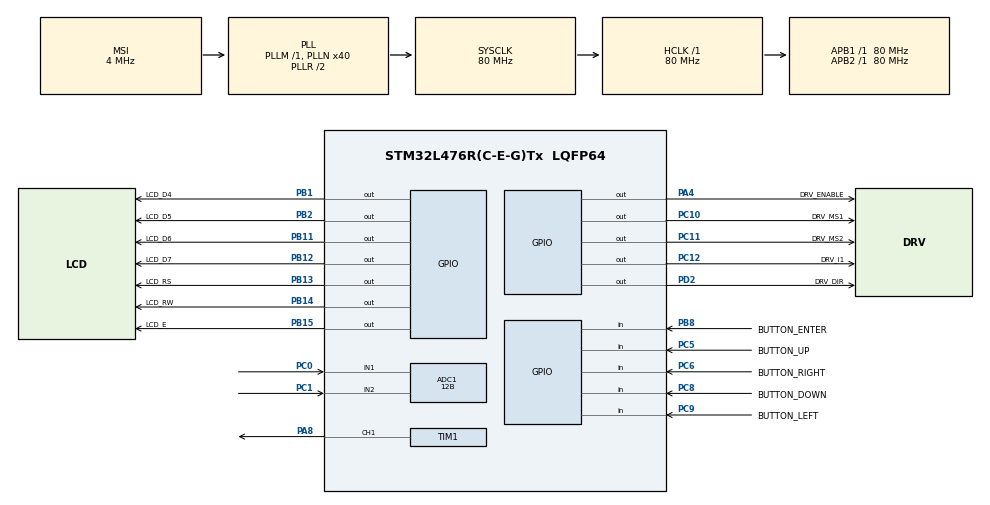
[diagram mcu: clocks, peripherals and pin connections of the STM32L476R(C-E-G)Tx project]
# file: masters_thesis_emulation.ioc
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ADC1.Channel-0\#ChannelRegularConversion=ADC_CHANNEL_1
ADC1.Channel-1\#ChannelRegularConversion=ADC_CHANNEL_2
ADC1.ContinuousConvMode=ENABLE
ADC1.DMAContinuousRequests=ENABLE
ADC1.Mode=ADC_MODE_INDEPENDENT
ADC1.NbrOfConversion=2
ADC1.NbrOfConversionFlag=1
ADC1.OffsetNumber-0\#ChannelRegularConversion=ADC_OFFSET_NONE
ADC1.OffsetNumber-1\#ChannelRegularConversion=ADC_OFFSET_NONE
ADC1.Overrun=ADC_OVR_DATA_OVERWRITTEN
ADC1.Rank-0\#ChannelRegularConversion=1
ADC1.Rank-1\#ChannelRegularConversion=2
ADC1.Resolution=ADC_RESOLUTION_12B
ADC1.SamplingTime-0\#ChannelRegularConversion=ADC_SAMPLETIME_247CYCLES_5
ADC1.SamplingTime-1\#ChannelRegularConversion=ADC_SAMPLETIME_247CYCLES_5
ADC1.master=1
Dma.ADC1.0.Direction=DMA_PERIPH_TO_MEMORY
Dma.ADC1.0.Instance=DMA1_Channel1
Dma.ADC1.0.MemDataAlignment=DMA_MDATAALIGN_HALFWORD
Dma.ADC1.0.MemInc=DMA_MINC_ENABLE
Dma.ADC1.0.Mode=DMA_CIRCULAR
Dma.ADC1.0.PeriphDataAlignment=DMA_PDATAALIGN_HALFWORD
Dma.ADC1.0.PeriphInc=DMA_PINC_DISABLE
Dma.ADC1.0.Priority=DMA_PRIORITY_LOW
Dma.Request0=ADC1
Mcu.Family=STM32L4
Mcu.Name=STM32L476R(C-E-G)Tx
Mcu.Package=LQFP64
NVIC.DMA1_Channel1_IRQn=true\:2\:0\:true\:false\:true\:false\:true\:true
NVIC.PriorityGroup=NVIC_PRIORITYGROUP_4
PA13\ (JTMS-SWDIO).Mode=Serial_Wire
PA13\ (JTMS-SWDIO).Signal=SYS_JTMS-SWDIO
PA14\ (JTCK-SWCLK).Mode=Serial_Wire
PA14\ (JTCK-SWCLK).Signal=SYS_JTCK-SWCLK
PA4.GPIO_Label=DRV_ENABLE
PA4.Signal=GPIO_Output
PA8.Signal=S_TIM1_CH1
PB1.GPIO_Label=LCD_D4
PB1.Signal=GPIO_Output
PB11.GPIO_Label=LCD_D6
PB11.Signal=GPIO_Output
PB12.GPIO_Label=LCD_D7
PB12.Signal=GPIO_Output
PB13.GPIO_Label=LCD_RS
PB13.Signal=GPIO_Output
PB14.GPIO_Label=LCD_RW
PB14.Signal=GPIO_Output
PB15.GPIO_Label=LCD_E
PB15.Signal=GPIO_Output
PB2.GPIO_Label=LCD_D5
PB2.Signal=GPIO_Output
PB8.GPIO_Label=BUTTON_ENTER
PB8.GPIO_PuPd=GPIO_PULLDOWN
PB8.Signal=GPIO_Input
PC0.Signal=ADCx_IN1
PC1.Signal=ADCx_IN2
PC10.GPIO_Label=DRV_MS1
PC10.PinState=GPIO_PIN_SET
PC10.Signal=GPIO_Output
PC11.GPIO_Label=DRV_MS2
PC11.PinState=GPIO_PIN_SET
PC11.Signal=GPIO_Output
PC12.GPIO_Label=DRV_I1
PC12.GPIO_PuPd=GPIO_PULLDOWN
PC12.PinState=GPIO_PIN_RESET
PC12.Signal=GPIO_Output
PC5.GPIO_Label=BUTTON_UP
PC5.GPIO_PuPd=GPIO_PULLDOWN
PC5.Signal=GPIO_Input
PC6.GPIO_Label=BUTTON_RIGHT
PC6.GPIO_PuPd=GPIO_PULLDOWN
PC6.Signal=GPIO_Input
PC8.GPIO_Label=BUTTON_DOWN
PC8.GPIO_PuPd=GPIO_PULLDOWN
PC8.Signal=GPIO_Input
PC9.GPIO_Label=BUTTON_LEFT
PC9.GPIO_PuPd=GPIO_PULLDOWN
PC9.Signal=GPIO_Input
PD2.GPIO_Label=DRV_DIR
PD2.GPIO_PuPd=GPIO_NOPULL
PD2.Signal=GPIO_Output
ProjectManager.HeapSize=0x200
ProjectManager.StackSize=0x400
ProjectManager.TargetToolchain=STM32CubeIDE
RCC.ADCFreq_Value=80000000
RCC.AHBFreq_Value=80000000
RCC.APB1Freq_Value=80000000
RCC.APB1TimFreq_Value=80000000
RCC.APB2Freq_Value=80000000
RCC.APB2TimFreq_Value=80000000
RCC.CortexFreq_Value=80000000
RCC.HCLKFreq_Value=80000000
RCC.HSE_VALUE=8000000
RCC.HSI_VALUE=16000000
RCC.LSE_VALUE=32768
RCC.MSI_VALUE=4000000
RCC.PLLN=40
RCC.PLLSAI1N=40
RCC.SYSCLKFreq_VALUE=80000000
RCC.SYSCLKSource=RCC_SYSCLKSOURCE_PLLCLK
RCC.USBFreq_Value=80000000
RCC.VCOOutputFreq_Value=160000000
SH.ADCx_IN1.0=ADC1_IN1,IN1-Single-Ended
SH.ADCx_IN2.0=ADC1_IN2,IN2-Single-Ended
SH.S_TIM1_CH1.0=TIM1_CH1,PWM Generation1 CH1
TIM1.Channel-PWM\ Generation1\ CH1=TIM_CHANNEL_1
TIM2.Prescaler=79
VP_TIM1_VS_ClockSourceINT.Mode=Internal
VP_TIM1_VS_OPM.Mode=OPM_bit
VP_TIM2_VS_ClockSourceINT.Mode=Internal
board=custom

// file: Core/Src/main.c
/* USER CODE BEGIN Header */
/**
  ******************************************************************************
  * @file           : main.c
  * @brief          : Main program body
  ******************************************************************************
  * @attention
  *
  * Copyright (c) 2024 STMicroelectronics.
  * All rights reserved.
  *
  * This software is licensed under terms that can be found in the LICENSE file
  * in the root directory of this software component.
  * If no LICENSE file comes with this software, it is provided AS-IS.
  *
  ******************************************************************************
  */
/* USER CODE END Header */
#include "main.h"
#include "adc.h"
#include "dma.h"
#include "tim.h"
#include "gpio.h"

/* USER CODE BEGIN Includes */
#include "lcd.h"
#include <stdbool.h>
/* USER CODE END Includes */

/* USER CODE BEGIN PTD */
#define button_portType GPIO_TypeDef*
#define button_pinType uint16_t
typedef struct {
	button_portType button_port;
	button_pinType button_pin;
} button_HandleTypeDef;
/* USER CODE END PTD */

/* USER CODE BEGIN PM */
#define BLINK_TIME 125
#define CLICK_TIME 10
#define MASS_MAX 1000 //max. mass value is 10 kg
#define MASS_MIN 10   //min. mass value is 0.1 kg
#define BEAM_OFF 80
#define ADC_TO_VOLTS 0.00080566406
#define DX_MAX 0.0075 //[m]
#define DX_MIN 0.000153075 //[m]
#define X_FACTOR 6532.74538625f // X_FACTOR = 1/DX_MIN [mm] (how many single steps is needed to reach calc. displacement)
/* USER CODE END PM */

void SystemClock_Config(void);
/* USER CODE BEGIN PFP */

/* Function used for interfacing mass definition and beams voltage regulation */
void displayf(int* p_m, int menu, Lcd_HandleTypeDef lcd, uint16_t adc[2]);
/* Function used for displaying countdown after pressing enter button.
 * Initial positions of cars have to be set during countdown. */
void countdownf(Lcd_HandleTypeDef lcd);
/* Function used along with RK4 method to calculate k1, k2, k3 and k4 values. */
void f(float Q1,float a, float dq[2]);
/* USER CODE END PFP */

int main(void)
{

  /* MCU Configuration--------------------------------------------------------*/

  /* Reset of all peripherals, Initializes the Flash interface and the Systick. */
  HAL_Init();

  /* Configure the system clock */
  SystemClock_Config();

  /* Initialize all configured peripherals */
  MX_GPIO_Init();
  MX_DMA_Init();
  MX_ADC1_Init();
  MX_TIM1_Init();
  MX_TIM2_Init();
  /* USER CODE BEGIN 2 */

  /* LCD variables and TypeDefs */
  Lcd_PortType ports[] = { LCD_D4_GPIO_Port, LCD_D5_GPIO_Port, LCD_D6_GPIO_Port, LCD_D7_GPIO_Port };
  Lcd_PinType pins[] = {LCD_D4_Pin, LCD_D5_Pin, LCD_D6_Pin, LCD_D7_Pin};
  Lcd_HandleTypeDef lcd;
  lcd = Lcd_create(ports, pins, LCD_RS_GPIO_Port, LCD_RS_Pin, LCD_E_GPIO_Port, LCD_E_Pin, LCD_4_BIT_MODE);

  /*Initial stepper motor driver setup*/
  HAL_GPIO_WritePin(DRV_MS1_GPIO_Port, DRV_MS1_Pin, GPIO_PIN_SET);
  HAL_GPIO_WritePin(DRV_MS2_GPIO_Port, DRV_MS2_Pin, GPIO_PIN_SET);
  HAL_GPIO_WritePin(DRV_I1_GPIO_Port, DRV_I1_Pin, GPIO_PIN_RESET);
  HAL_GPIO_WritePin(DRV_ENABLE_GPIO_Port, DRV_ENABLE_Pin, GPIO_PIN_SET);

  /* USER CODE END 2 */

  /* Infinite loop */
  /* USER CODE BEGIN WHILE */

  /* Menu variables */
  bool isEnterPressed = 0;
  int menu = 0;
  int m = 200; // m = 100 * mass -> easier LCD programming
  int* p_m = &m; //pointer to 'm' useful in 'menu' function

  /* Container for ADC values: */
  volatile static uint16_t ADC_value[2];

  /* ADC calibration and measurement through DMA start */
  HAL_ADCEx_Calibration_Start(&hadc1, ADC_SINGLE_ENDED);
  HAL_ADC_Start_DMA(&hadc1, (uint32_t*)ADC_value, 2);

  /* Forces measurement variables */
  uint16_t beam_right_stable_ADCval = 0;
  uint16_t beam_left_stable_ADCval = 0;
  uint16_t beam_right_ADCval = 0;
  uint16_t beam_left_ADCval = 0;
  int16_t right_val = 0;
  int16_t left_val = 0;
  float F_right = 0.0f;
  float F_left = 0.0f;
  float F = 0.0f; //Net force value

  float mass = 0.0f;

  /* RK4 Method variables */
  float h = 0.005f; 		  //single step value
  float dq[2] = {0.0f, 0.0f}; //initial conditions
  float Q[2] = {0, 0}; 		  //Initial values Q[0] = displacement, Q[1] = velocity;
  float k1[2] = {0, 0};
  float k2[2] = {0, 0};
  float k3[2] = {0, 0};
  float k4[2] = {0, 0};

  float dx = 0.0f; 		 //displacement in [m]
  uint16_t no_steps = 0; //number of stepper motor micro-steps

  /* Menu and beams calibration loop */
  while (isEnterPressed == false)
  {
	  /*Assuming that there is no strain on springs yet, actual ADC values are 'stable' values.*/
	  beam_left_stable_ADCval = ADC_value[0];
	  beam_right_stable_ADCval = ADC_value[1];

	  displayf(p_m, menu, lcd, (uint16_t*)ADC_value);

	  //Check if and which button was pressed
	  if (HAL_GPIO_ReadPin(BUTTON_LEFT_GPIO_Port, BUTTON_LEFT_Pin) == GPIO_PIN_SET || HAL_GPIO_ReadPin(BUTTON_RIGHT_GPIO_Port, BUTTON_RIGHT_Pin) == GPIO_PIN_SET){
		  while (HAL_GPIO_ReadPin(BUTTON_LEFT_GPIO_Port, BUTTON_LEFT_Pin) == GPIO_PIN_SET || HAL_GPIO_ReadPin(BUTTON_RIGHT_GPIO_Port, BUTTON_RIGHT_Pin) == GPIO_PIN_SET)
		  {}
		  menu = !(menu);
		  Lcd_clear(&lcd);
	  } else if (HAL_GPIO_ReadPin(BUTTON_ENTER_GPIO_Port, BUTTON_ENTER_Pin) == GPIO_PIN_SET) {
		  while (HAL_GPIO_ReadPin(BUTTON_ENTER_GPIO_Port, BUTTON_ENTER_Pin) == GPIO_PIN_SET)
		  {}
		  isEnterPressed = true;
		  mass = (float)m / 100.0f;
		  Lcd_clear(&lcd);
		  countdownf(lcd);
		  //Enable H-bridges in the stepper-motor driver:
		  HAL_GPIO_WritePin(DRV_ENABLE_GPIO_Port, DRV_ENABLE_Pin, GPIO_PIN_RESET);
	  }
  }

  while (1)
  {
	  /*Get actual ADC values for each tensometric beam*/
	  beam_left_ADCval = ADC_value[0];
	  beam_right_ADCval = ADC_value[1];
	  /*Calculate how much actual ADC values differ from 'stable' ones*/
	  left_val = beam_left_ADCval - beam_left_stable_ADCval;
	  right_val = beam_right_ADCval - beam_right_stable_ADCval;
	  /*if actual ADC values are smaller than BEAM_OFF(SET) the they are considered as '0'*/
	  F_right = 0.0f;
	  F_left = 0.0f;

	  //Left beam -> measure and calculate force in [N]
	  if (beam_left_ADCval > beam_left_stable_ADCval + BEAM_OFF){
		  F_left = 27.742f * (ADC_TO_VOLTS * left_val);
	  } else if (beam_left_ADCval < beam_left_stable_ADCval - BEAM_OFF){
		  F_left = 28.297f * (ADC_TO_VOLTS * left_val);
	  }

	  //Right beam -> measure and calculate force in [N]
	  if (beam_right_ADCval > beam_right_stable_ADCval + BEAM_OFF){
		  F_right = (29.322f * (ADC_TO_VOLTS * right_val));
	  } else if (beam_right_ADCval < beam_right_stable_ADCval - BEAM_OFF){
		  F_right = (29.920f * (ADC_TO_VOLTS * right_val));
	  }

	  /*Calculate Net Force 'F'*/
	  F = F_left - F_right;

	  /*Calculate acceleration 'a'*/
	  float a = F / mass;

	  /*RK4 Method -> Calculate displacement 'dx'*/
	  /*Intermediate step 'k1'*/
	  f(Q[1], a, (float*)dq);
	  k1[0] = h * dq[0];
	  k1[1] = h * dq[1];
	  /*Intermediate step 'k2'*/
	  f((Q[1] + k1[1]/2), a, (float*)dq);
	  k2[0] = h * dq[0];
	  k2[1] = h * dq[1];
	  /*Intermediate step 'k3'*/
	  f((Q[1] + k2[1]/2), a, (float*)dq);
	  k3[0] = h * dq[0];
	  k3[1] = h * dq[1];
	  /*Intermediate step 'k4'*/
	  f((Q[1] + k3[1]), a, (float*)dq);
	  k4[0] = h * dq[0];
	  k4[1] = h * dq[1];

	  /*Final value - calculated displacement*/
	  Q[0] = Q[0] + h/6 * (k1[0] + 2*k2[0] + 2*k3[0] + k4[0]);
	  dx = Q[0];
	  /*Final value - calculated velocity*/
	  Q[1] = Q[1] + h/6 * (k1[1] + 2*k2[1] + 2*k3[1] + k4[1]);

	  /*if 'dx' exceeds minimal value possible for stepper motor to realize then:*/
	  if (dx >= DX_MIN){
		  HAL_GPIO_WritePin(DRV_DIR_GPIO_Port, DRV_DIR_Pin, GPIO_PIN_SET); //set CW rotation (movement) direction.
		  Q[0] = 0;  					//zero-out previous 'dx' value
		  no_steps = dx * X_FACTOR; 	//calc. number of steps needed to reach calculated displacement
		  TIM1 -> RCR = no_steps - 1; 	//write number of steps to RepetitionCounterRegister
		  TIM1->CR1 |= TIM_CR1_CEN;   	/*Run TIM1 which will generate fixed number of PWM pulses.
		  	  	  	  	  	  	  	  	 *Single PWM pulse results in single stepper motor micro-step.*/
	  } else if (dx <= - DX_MIN){
		  HAL_GPIO_WritePin(DRV_DIR_GPIO_Port, DRV_DIR_Pin, GPIO_PIN_RESET); //set CCW rotation (movement) direction.
		  Q[0] = 0;  					 //zero-out previous 'dx' value:
		  no_steps = -1 * dx * X_FACTOR; //calc. number of steps needed to reach calculated displacement:
		  TIM1 -> RCR = no_steps - 1; 	 //write number of steps to RepetitionCounterRegister:
		  TIM1->CR1 |= TIM_CR1_CEN;   	 /*Run TIM1 which will generate fixed number of PWM pulses.
		  	  	  	  	  	  	  	  	  *Single PWM pulse results in single stepper motor micro-step.*/
	  }
    /* USER CODE END WHILE */

  }
}

void SystemClock_Config(void)
{
  RCC_OscInitTypeDef RCC_OscInitStruct = {0};
  RCC_ClkInitTypeDef RCC_ClkInitStruct = {0};

  /** Configure the main internal regulator output voltage
  */
  if (HAL_PWREx_ControlVoltageScaling(PWR_REGULATOR_VOLTAGE_SCALE1) != HAL_OK)
  {
    Error_Handler();
  }

  /** Initializes the RCC Oscillators according to the specified parameters
  * in the RCC_OscInitTypeDef structure.
  */
  RCC_OscInitStruct.OscillatorType = RCC_OSCILLATORTYPE_MSI;
  RCC_OscInitStruct.MSIState = RCC_MSI_ON;
  RCC_OscInitStruct.MSICalibrationValue = 0;
  RCC_OscInitStruct.MSIClockRange = RCC_MSIRANGE_6;
  RCC_OscInitStruct.PLL.PLLState = RCC_PLL_ON;
  RCC_OscInitStruct.PLL.PLLSource = RCC_PLLSOURCE_MSI;
  RCC_OscInitStruct.PLL.PLLM = 1;
  RCC_OscInitStruct.PLL.PLLN = 40;
  RCC_OscInitStruct.PLL.PLLP = RCC_PLLP_DIV7;
  RCC_OscInitStruct.PLL.PLLQ = RCC_PLLQ_DIV2;
  RCC_OscInitStruct.PLL.PLLR = RCC_PLLR_DIV2;
  if (HAL_RCC_OscConfig(&RCC_OscInitStruct) != HAL_OK)
  {
    Error_Handler();
  }

  /** Initializes the CPU, AHB and APB buses clocks
  */
  RCC_ClkInitStruct.ClockType = RCC_CLOCKTYPE_HCLK|RCC_CLOCKTYPE_SYSCLK
                              |RCC_CLOCKTYPE_PCLK1|RCC_CLOCKTYPE_PCLK2;
  RCC_ClkInitStruct.SYSCLKSource = RCC_SYSCLKSOURCE_PLLCLK;
  RCC_ClkInitStruct.AHBCLKDivider = RCC_SYSCLK_DIV1;
  RCC_ClkInitStruct.APB1CLKDivider = RCC_HCLK_DIV1;
  RCC_ClkInitStruct.APB2CLKDivider = RCC_HCLK_DIV1;

  if (HAL_RCC_ClockConfig(&RCC_ClkInitStruct, FLASH_LATENCY_4) != HAL_OK)
  {
    Error_Handler();
  }
}

/* USER CODE BEGIN 4 */
void displayf(int* p_m, int menu, Lcd_HandleTypeDef lcd, uint16_t adc[2])
{
	enum col {UNITIES = 4, TENTHS = 6, HUNDREDTHS = 7, UNITS = 9};
	enum row {ROW_UP = 0, ROW_BOTTOM = 1};
	enum menu {MASS = 0, CALIBRATION = 1};
	int cursor_pos = 0;
	char lcd_infoText[] = "m = ";
	char lcd_unitText[] = "[kg]";
	int mass = *p_m;
	uint16_t adc_left_beam = adc[0];
	uint16_t adc_right_beam = adc[1];
	switch (menu)
	{
		case (MASS):
				Lcd_cursor(&lcd, ROW_UP, 0);
			  	Lcd_string(&lcd, "DEFINE MASS:");
			  	Lcd_cursor(&lcd, ROW_BOTTOM, 0);
			  	Lcd_string(&lcd, lcd_infoText);
			  	cursor_pos = strlen(lcd_infoText);
			  	Lcd_cursor(&lcd, ROW_BOTTOM, cursor_pos);
			  	Lcd_cursor(&lcd, ROW_BOTTOM, UNITIES);
			  	Lcd_int(&lcd, mass/100);
			  	Lcd_string(&lcd, ".");
			  	if (mass%100 < 10){
			  		Lcd_cursor(&lcd, ROW_BOTTOM, TENTHS);
			  		Lcd_int(&lcd, 0);
			  		Lcd_cursor(&lcd, ROW_BOTTOM, HUNDREDTHS);
			  	}
			  	Lcd_int(&lcd, mass%100);
			  	Lcd_cursor(&lcd, ROW_BOTTOM, UNITS);
			  	Lcd_string(&lcd, lcd_unitText);
			  	if(HAL_GPIO_ReadPin(BUTTON_UP_GPIO_Port, BUTTON_UP_Pin) == GPIO_PIN_SET && mass < MASS_MAX){
			  		mass++;
			  	} else if (HAL_GPIO_ReadPin(BUTTON_DOWN_GPIO_Port, BUTTON_DOWN_Pin) == GPIO_PIN_SET && mass > MASS_MIN) {
			  		mass--;
			  	}
			  	*p_m = mass;
			  	break;
		case (CALIBRATION): ;
				float volts_left_beam = 3.3f * (float) adc_left_beam / 4096.0f;
				float volts_right_beam = 3.3f * adc_right_beam / 4096.0f;
				float display_left_beam = volts_left_beam * 100;
				float display_right_beam = volts_right_beam * 100;
				int v_l = (int) display_left_beam;
				int v_r = (int) display_right_beam;
				Lcd_cursor(&lcd, ROW_UP, 0);
				Lcd_string(&lcd, "BEAMS CALIB.:");

				Lcd_cursor(&lcd, ROW_BOTTOM, 0);
				Lcd_string(&lcd, "Vl=");
				Lcd_cursor(&lcd, ROW_BOTTOM, UNITIES-1);
				Lcd_int(&lcd, v_l/100);
				Lcd_string(&lcd, ".");
				if (v_l%100 < 10){
					Lcd_cursor(&lcd, ROW_BOTTOM, TENTHS-1);
					Lcd_int(&lcd, 0);
					Lcd_cursor(&lcd, ROW_BOTTOM, HUNDREDTHS-1);
				}
				Lcd_int(&lcd, v_l%100);

				Lcd_cursor(&lcd, ROW_BOTTOM, strlen("Vl=")+6);
				Lcd_string(&lcd, "Vr=");
				Lcd_int(&lcd, v_r/100);
				Lcd_string(&lcd, ".");
				if (v_r%100 < 10){
					Lcd_cursor(&lcd, ROW_BOTTOM, 15);
					Lcd_int(&lcd, 0);
					Lcd_cursor(&lcd, ROW_BOTTOM, 16);
				}
				Lcd_int(&lcd, v_r%100);
				break;
		default:
			break;
	}
}
void countdownf(Lcd_HandleTypeDef lcd)
{
	enum row {ROW_UP = 0, ROW_BOTTOM = 1};
	Lcd_cursor(&lcd, ROW_UP, 0);
	Lcd_string(&lcd, "EMULATION IN: ");
	for(int i = 10; i >= 0; i--){
		if (i != 10){
			Lcd_cursor(&lcd, ROW_UP, strlen("EMULATION IN: "));
			Lcd_string(&lcd, " ");
		}
		Lcd_int(&lcd, i);
		HAL_Delay(999);
	}
	Lcd_clear(&lcd);
	Lcd_cursor(&lcd, ROW_UP, 3);
	Lcd_string(&lcd, "EMULATION!");
}

/*'f' function used for RK4 Method
 * 'Q1' is 'velocity' calculated in previous step
 * 'a' is 'acceleration' calculated in each step when force is measured and mass is user defined
 * 'dq' is an array that stores temporary acceleration and velocity values*/
void f(float Q1, float a, float dq[2])
{
	dq[0] = Q1; //'velocity' from which displacement 'dx' will be calculated
	dq[1] = a;  //'acceleration' from wich velocity will be calculated
}
/* USER CODE END 4 */

void Error_Handler(void)
{
  __disable_irq();
  while (1)
  {
  }
}
